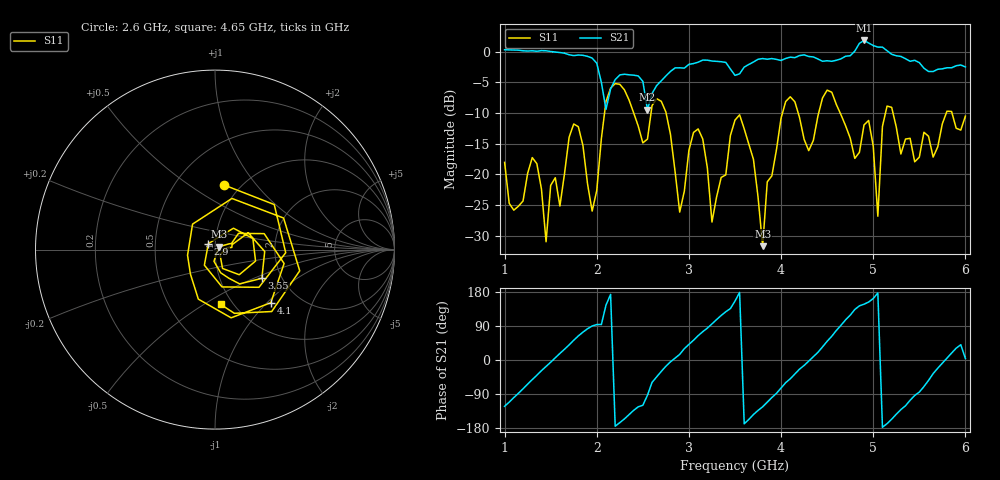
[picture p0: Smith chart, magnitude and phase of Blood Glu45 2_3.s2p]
! NanoVNA-App
! Date: 2024-03-20 21:00:54
! Start: 1GHz Stop: 6GHz Points: 101
! S-Parameter data: F S11 S21 S12 S22
# Hz S RI R 50
!	Frequency	S11_Real	S11_Imag	S21_Real	S21_Imag	S12_Real	S12_Imag	S22_Real	S22_Imag
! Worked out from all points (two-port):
!   101 points, 1 GHz to 6 GHz, reference 50 ohm
!   highest |S21| = 1.84 dB at 4.9 GHz (marker M1); lowest = -9.5 dB at 2.55 GHz (marker M2)
!   |S21| within 3 dB of the highest: start of sweep to 1.957 GHz; 4.65 GHz to 5.353 GHz (702.4 MHz wide, 14 % of centre)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
!   lowest |S11| = -31.7 dB at 3.8 GHz (marker M3), VSWR 1.05, Z = 52.1 + j1.64 ohm
!   |S11| at or under -10 dB: start of sweep to 2.084 GHz; 2.752 GHz to 4.015 GHz (1.263 GHz wide, 37.3 % of centre); 5.215 GHz to 5.793 GHz (578 MHz wide, 10.5 % of centre)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
!   S12 and S22 are empty: the file has one direction only
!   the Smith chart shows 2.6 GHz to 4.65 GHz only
!   S11 on the Smith chart (normalised r, x): 2.6 GHz: 0.84, +0.70; 2.9 GHz: 0.93, +0.06; 3.55 GHz: 1.59, -0.56; 4.1 GHz: 1.45, -1.05; 4.65 GHz: 0.88, -0.59
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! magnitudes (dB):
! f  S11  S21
! 1 GHz  -18.0  0.3
! 1.35 GHz  -18.2  0.1
! 1.45 GHz  -31.0  0.2
! 1.85 GHz  -15.3  -0.6
! 1.95 GHz  -26.0  -1.0
! 2.15 GHz  -5.9  -6.1
! 2.55 GHz  -14.2  -9.5
! 2.6 GHz  -8.8  -6.8
! 2.7 GHz  -8.1  -4.7
! 2.9 GHz  -26.1  -2.6
! 3.1 GHz  -12.6  -1.7
! 3.25 GHz  -27.8  -1.5
! 3.5 GHz  -11.1  -3.8
! 3.55 GHz  -10.3  -3.6
! 3.8 GHz  -31.7  -1.1
! 4.1 GHz  -7.3  -0.9
! 4.35 GHz  -14.5  -0.8
! 4.65 GHz  -10.3  -1.2
! 4.9 GHz  -11.9  1.8
! 5.05 GHz  -26.8  0.8
! 5.2 GHz  -9.1  -0.4
! 6 GHz  -10.5  -2.5
